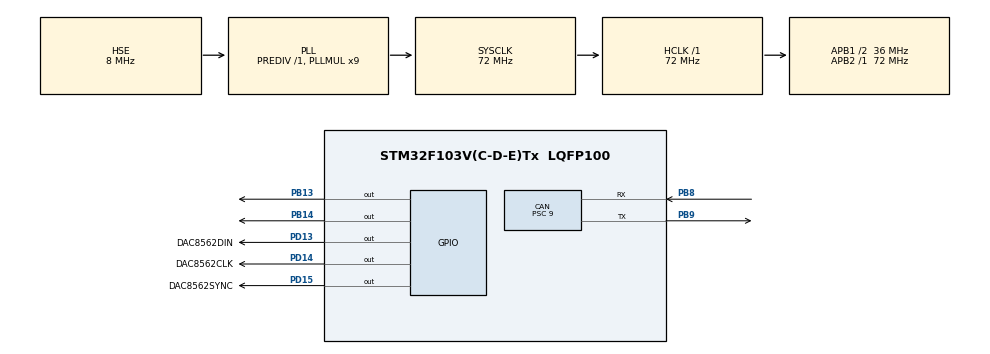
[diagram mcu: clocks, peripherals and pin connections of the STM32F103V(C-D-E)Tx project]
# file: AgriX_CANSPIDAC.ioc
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CAN.BS1=CAN_BS1_3TQ
CAN.BS2=CAN_BS2_4TQ
CAN.CalculateTimeBit=2000
CAN.CalculateTimeQuantum=250.0
CAN.Prescaler=9
Mcu.Family=STM32F1
Mcu.Name=STM32F103V(C-D-E)Tx
Mcu.Package=LQFP100
NVIC.PriorityGroup=NVIC_PRIORITYGROUP_4
NVIC.USB_LP_CAN1_RX0_IRQn=true\:0\:0\:false\:false\:true
OSC_IN.Mode=HSE-External-Oscillator
OSC_IN.Signal=RCC_OSC_IN
OSC_OUT.Mode=HSE-External-Oscillator
OSC_OUT.Signal=RCC_OSC_OUT
PA13.Mode=JTAG_5_pins
PA13.Signal=SYS_JTMS-SWDIO
PA14.Mode=JTAG_5_pins
PA14.Signal=SYS_JTCK-SWCLK
PA15.Mode=JTAG_5_pins
PA15.Signal=SYS_JTDI
PB13.GPIO_Speed=GPIO_SPEED_FREQ_HIGH
PB13.Signal=GPIO_Output
PB14.GPIO_Speed=GPIO_SPEED_FREQ_HIGH
PB14.Signal=GPIO_Output
PB3.Mode=JTAG_5_pins
PB3.Signal=SYS_JTDO-TRACESWO
PB4.Mode=JTAG_5_pins
PB4.Signal=SYS_NJTRST
PB8.Mode=Master
PB8.Signal=CAN_RX
PB9.Mode=Master
PB9.Signal=CAN_TX
PD13.GPIO_Label=DAC8562DIN
PD13.Signal=GPIO_Output
PD14.GPIO_Label=DAC8562CLK
PD14.Signal=GPIO_Output
PD15.GPIO_Label=DAC8562SYNC
PD15.Signal=GPIO_Output
ProjectManager.HeapSize=0x200
ProjectManager.StackSize=0x400
ProjectManager.TargetToolchain=MDK-ARM V5
RCC.AHBFreq_Value=72000000
RCC.APB1CLKDivider=RCC_HCLK_DIV2
RCC.APB1Freq_Value=36000000
RCC.APB1TimFreq_Value=72000000
RCC.APB2Freq_Value=72000000
RCC.APB2TimFreq_Value=72000000
RCC.HCLKFreq_Value=72000000
RCC.PLLMUL=RCC_PLL_MUL9
RCC.PLLSourceVirtual=RCC_PLLSOURCE_HSE
RCC.SYSCLKFreq_VALUE=72000000
RCC.SYSCLKSource=RCC_SYSCLKSOURCE_PLLCLK
RCC.USBFreq_Value=72000000
board=AgriX_CANSPIDAC

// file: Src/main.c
/**
  ******************************************************************************
  * File Name          : main.c
  * Description        : Main program body
  ******************************************************************************
  *
  * COPYRIGHT(c) 2018 STMicroelectronics
  *
  * Redistribution and use in source and binary forms, with or without modification,
  * are permitted provided that the following conditions are met:
  *   1. Redistributions of source code must retain the above copyright notice,
  *      this list of conditions and the following disclaimer.
  *   2. Redistributions in binary form must reproduce the above copyright notice,
  *      this list of conditions and the following disclaimer in the documentation
  *      and/or other materials provided with the distribution.
  *   3. Neither the name of STMicroelectronics nor the names of its contributors
  *      may be used to endorse or promote products derived from this software
  *      without specific prior written permission.
  *
  * THIS SOFTWARE IS PROVIDED BY THE COPYRIGHT HOLDERS AND CONTRIBUTORS "AS IS"
  * AND ANY EXPRESS OR IMPLIED WARRANTIES, INCLUDING, BUT NOT LIMITED TO, THE
  * IMPLIED WARRANTIES OF MERCHANTABILITY AND FITNESS FOR A PARTICULAR PURPOSE ARE
  * DISCLAIMED. IN NO EVENT SHALL THE COPYRIGHT HOLDER OR CONTRIBUTORS BE LIABLE
  * FOR ANY DIRECT, INDIRECT, INCIDENTAL, SPECIAL, EXEMPLARY, OR CONSEQUENTIAL
  * DAMAGES (INCLUDING, BUT NOT LIMITED TO, PROCUREMENT OF SUBSTITUTE GOODS OR
  * SERVICES; LOSS OF USE, DATA, OR PROFITS; OR BUSINESS INTERRUPTION) HOWEVER
  * CAUSED AND ON ANY THEORY OF LIABILITY, WHETHER IN CONTRACT, STRICT LIABILITY,
  * OR TORT (INCLUDING NEGLIGENCE OR OTHERWISE) ARISING IN ANY WAY OUT OF THE USE
  * OF THIS SOFTWARE, EVEN IF ADVISED OF THE POSSIBILITY OF SUCH DAMAGE.
  *
  ******************************************************************************
  */
#include "main.h"
#include "stm32f1xx_hal.h"
#include "can.h"
#include "gpio.h"

/* USER CODE BEGIN Includes */
#include "motor_driver.h"
/* USER CODE END Includes */

/* USER CODE BEGIN PV */
/* Private variables ---------------------------------------------------------*/

/* USER CODE END PV */

void SystemClock_Config(void);
void Error_Handler(void);

/* USER CODE BEGIN PFP */
/* Private function prototypes -----------------------------------------------*/

/* USER CODE END PFP */

int main(void)
{

  /* MCU Configuration----------------------------------------------------------*/

  /* Reset of all peripherals, Initializes the Flash interface and the Systick. */
  HAL_Init();

  /* Configure the system clock */
  SystemClock_Config();

  /* Initialize all configured peripherals */
  MX_GPIO_Init();
  MX_CAN_Init();

  /* USER CODE BEGIN 2 */
	HAL_Delay(10);
	initMotorDriver();

  /* USER CODE END 2 */

  /* Infinite loop */
  /* USER CODE BEGIN WHILE */

  uint32_t motor_cmd_delay=0;
  motor_cmd_delay=HAL_GetTick();
  while (1)
  {
	  HAL_GPIO_WritePin(GPIOB, GPIO_PIN_13|GPIO_PIN_14, GPIO_PIN_RESET);
	  HAL_Delay(1);
	  HAL_GPIO_WritePin(GPIOB, GPIO_PIN_13|GPIO_PIN_14, GPIO_PIN_SET);
	  HAL_Delay(1);

	  int16_t vl_cmd,vr_cmd;
	  if(getMotorSpeedCmd(&vl_cmd,&vr_cmd))
	  {
		  setMotorSpeed(vl_cmd,vr_cmd);
		  motor_cmd_delay=HAL_GetTick();
	  }

	  if(HAL_GetTick()-motor_cmd_delay>1000)
	  {
		  setMotorSpeed(0,0);
	  }

  /* USER CODE END WHILE */

  }

}

/** System Clock Configuration
*/
void SystemClock_Config(void)
{

  RCC_OscInitTypeDef RCC_OscInitStruct;
  RCC_ClkInitTypeDef RCC_ClkInitStruct;

    /**Initializes the CPU, AHB and APB busses clocks
    */
  RCC_OscInitStruct.OscillatorType = RCC_OSCILLATORTYPE_HSE;
  RCC_OscInitStruct.HSEState = RCC_HSE_ON;
  RCC_OscInitStruct.HSEPredivValue = RCC_HSE_PREDIV_DIV1;
  RCC_OscInitStruct.HSIState = RCC_HSI_ON;
  RCC_OscInitStruct.PLL.PLLState = RCC_PLL_ON;
  RCC_OscInitStruct.PLL.PLLSource = RCC_PLLSOURCE_HSE;
  RCC_OscInitStruct.PLL.PLLMUL = RCC_PLL_MUL9;
  if (HAL_RCC_OscConfig(&RCC_OscInitStruct) != HAL_OK)
  {
    Error_Handler();
  }

    /**Initializes the CPU, AHB and APB busses clocks
    */
  RCC_ClkInitStruct.ClockType = RCC_CLOCKTYPE_HCLK|RCC_CLOCKTYPE_SYSCLK
                              |RCC_CLOCKTYPE_PCLK1|RCC_CLOCKTYPE_PCLK2;
  RCC_ClkInitStruct.SYSCLKSource = RCC_SYSCLKSOURCE_PLLCLK;
  RCC_ClkInitStruct.AHBCLKDivider = RCC_SYSCLK_DIV1;
  RCC_ClkInitStruct.APB1CLKDivider = RCC_HCLK_DIV2;
  RCC_ClkInitStruct.APB2CLKDivider = RCC_HCLK_DIV1;

  if (HAL_RCC_ClockConfig(&RCC_ClkInitStruct, FLASH_LATENCY_2) != HAL_OK)
  {
    Error_Handler();
  }

    /**Configure the Systick interrupt time
    */
  HAL_SYSTICK_Config(HAL_RCC_GetHCLKFreq()/1000);

    /**Configure the Systick
    */
  HAL_SYSTICK_CLKSourceConfig(SYSTICK_CLKSOURCE_HCLK);

  /* SysTick_IRQn interrupt configuration */
  HAL_NVIC_SetPriority(SysTick_IRQn, 0, 0);
}

void Error_Handler(void)
{
  while(1)
  {
  }
}

/************************ (C) COPYRIGHT STMicroelectronics *****END OF FILE****/
